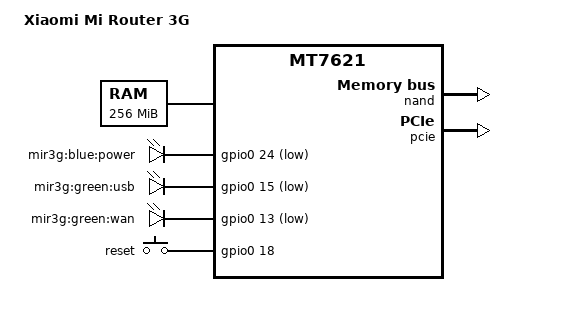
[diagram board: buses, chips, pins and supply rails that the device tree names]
/dts-v1/;

#include "mt7621.dtsi"

#include <dt-bindings/gpio/gpio.h>
#include <dt-bindings/input/input.h>

/ {
	compatible = "xiaomi,mir3g", "mediatek,mt7621-soc";
	model = "Xiaomi Mi Router 3G";

	memory@0 {
		device_type = "memory";
		reg = <0x0 0x10000000>;
	};

	chosen {
		bootargs = "console=ttyS0,115200n8";
	};

	gpio-leds {
		compatible = "gpio-leds";

		power {
			label = "mir3g:blue:power";
			gpios = <&gpio0 24 GPIO_ACTIVE_LOW>;
		};

		usb {
			label = "mir3g:green:usb";
			gpios = <&gpio0 15 GPIO_ACTIVE_LOW>;
		};

		internet {
			label = "mir3g:green:wan";
			gpios = <&gpio0 13 GPIO_ACTIVE_LOW>;
		};
	};

	gpio-keys-polled {
		compatible = "gpio-keys-polled";
		#address-cells = <1>;
		#size-cells = <0>;
		poll-interval = <20>;

		reset {
			label = "reset";
			gpios = <&gpio0 18 GPIO_ACTIVE_HIGH>;
			linux,code = <KEY_RESTART>;
		};
	};
};

&nand {
	status = "okay";

	partition@0 {
		label = "Bootloader";
		reg = <0x0 0x80000>;
		read-only;
	};

	partition@80000 {
		label = "Config";
		reg = <0x80000 0x40000>;
		read-only;
	};

	partition@c0000 {
		label = "Bdata";
		reg = <0xc0000 0x40000>;
		read-only;
	};

	factory: partition@100000 {
		label = "Factory";
		reg = <0x100000 0x40000>;
		read-only;
	};

	partition@140000 {
		label = "crash";
		reg = <0x140000 0x40000>;
		read-only;
	};

	partition@180000 {
		label = "crash_syslog";
		reg = <0x180000 0x40000>;
		read-only;
	};


	partition@1c0000 {
		label = "reserved0";
		reg = <0x1c0000 0x40000>;
		read-only;
	};


	partition@200000 {
		label = "kernel";
		reg = <0x200000 0x400000>;
	};


	partition@600000 {
		label = "kernel1";
		reg = <0x600000 0x400000>;
		read-only;
	};


	partition@a00000 {
		label = "ubi";
		reg = <0xa00000 0x2000000>;
	};


	partition@2a00000 {
		label = "rootfs1";
		reg = <0x2a00000 0x2000000>;
		read-only;
	};


	partition@4a00000 {
		label = "overlay";
		reg = <0x4a00000 0x3580000>;
		read-only;
	};

};

&pcie {
	status = "okay";

	pcie0 {
		mt76@0,0 {
			reg = <0x0000 0 0 0 0>;
			device_type = "pci";
			mediatek,mtd-eeprom = <&factory 0x8000>;
			ieee80211-freq-limit = <5000000 6000000>;
		};
	};

	pcie1 {
		mt76@1,0 {
			reg = <0x0000 0 0 0 0>;
			device_type = "pci";
			mediatek,mtd-eeprom = <&factory 0x0000>;
			ieee80211-freq-limit = <2400000 2500000>;
		};
	};
};

&ethernet {
	mtd-mac-address = <&factory 0xe000>;
	/* mediatek,portmap = "lwlll"; */
};

&pinctrl {
	state_default: pinctrl0 {
		gpio {
			ralink,group = "uart3", "jtag";
			ralink,function = "gpio";
		};
	};
};
